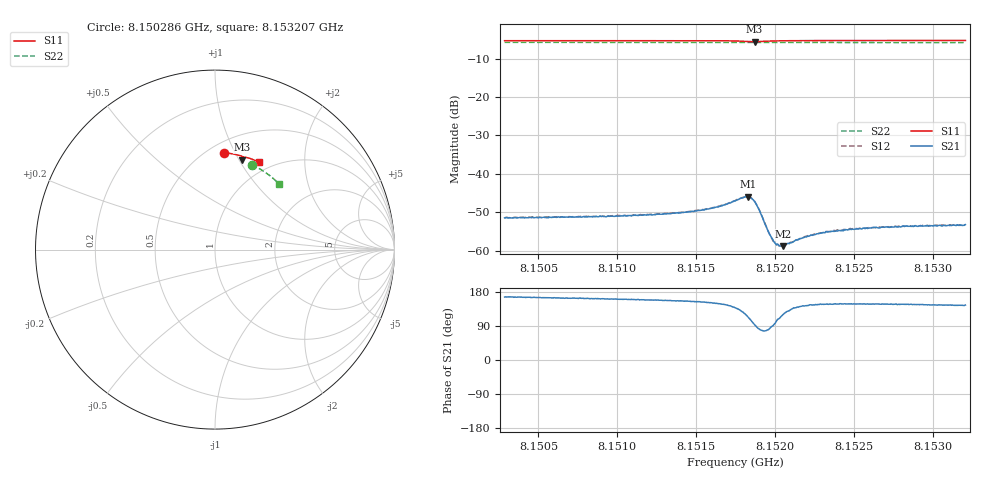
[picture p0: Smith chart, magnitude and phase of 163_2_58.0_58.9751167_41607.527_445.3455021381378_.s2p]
#  HZ  S  RI  R  50.00
! Rohde & Schwarz Vector Network Analyzer
! Rohde-Schwarz,ZNB20-2Port,1311601062101988,3.16
! Created: UTC 3/21/2024, 12:57:37 AM
! freq[Hz]  re:S11  im:S11  re:S21  im:S21  re:S12  im:S12  re:S22  im:S22
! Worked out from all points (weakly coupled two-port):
!   401 points, 8.150286 GHz to 8.153207 GHz, reference 50 ohm
!   highest |S21| = -45.96 dB at 8.151827 GHz (marker M1); lowest = -58.8 dB at 8.152053 GHz (marker M2)
!   lowest |S11| = -5.6 dB at 8.151871 GHz (marker M3), VSWR 3.21, Z = 37.4 + j51.8 ohm
!   |S11| at or under -10 dB: nowhere
!   |S22| runs from -5.8 to -5.8 dB; largest |S21 - S12| = 0.00013
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8.1502859e9  0.0516 0.5386  -0.0026 0.000638  -0.0026 0.000656  0.2046 0.473
8.1507752e9  0.0859 0.535  -0.0026 0.000812  -0.00263 0.000877  0.2329 0.4593
8.1512646e9  0.1205 0.5289  -0.00278 0.00114  -0.00278 0.00119  0.2602 0.4436
8.1514033e9  0.1306 0.5264  -0.00285 0.00125  -0.00284 0.00135  0.2678 0.4387
8.1515421e9  0.141 0.5234  -0.00302 0.00154  -0.00303 0.00163  0.2753 0.4338
8.1516517e9  0.15 0.5198  -0.00323 0.00199  -0.00319 0.00205  0.2812 0.4298
8.1517466e9  0.1578 0.5137  -0.00331 0.00298  -0.0033 0.00302  0.2863 0.4262
8.1517977e9  0.1602 0.5077  -0.00288 0.00395  -0.00285 0.00406  0.2887 0.4241
8.151827e9  0.1589 0.5037  -0.00209 0.00458  -0.00201 0.00465  0.29 0.4229
8.1518489e9  0.1561 0.5017  -0.00119 0.0047  -0.00113 0.00475  0.2911 0.4221
8.1518708e9  0.1527 0.502  -0.000229 0.00434  -0.000202 0.0044  0.292 0.4214
8.1519e9  0.1503 0.5055  0.000491 0.00336  0.000531 0.00337  0.2934 0.4205
8.1519511e9  0.153 0.5119  0.00036 0.00187  0.000387 0.00187  0.2961 0.4189
8.151973e9  0.1552 0.5135  9.6e-05 0.00155  0.000134 0.00151  0.2975 0.418
8.1519876e9  0.1565 0.5141  -1.61e-05 0.00138  3.76e-06 0.00133  0.298 0.4175
8.1520168e9  0.1597 0.5149  -0.000357 0.00116  -0.000325 0.00117  0.2997 0.4165
8.1520534e9  0.1635 0.5151  -0.000594 0.000979  -0.000587 0.000998  0.3016 0.415
8.1521775e9  0.1743 0.5137  -0.00118 0.000885  -0.00117 0.000926  0.308 0.4103
8.152236e9  0.1789 0.5127  -0.0013 0.000909  -0.0013 0.000917  0.3111 0.4078
8.1523893e9  0.19 0.5094  -0.00152 0.00097  -0.00155 0.00099  0.3187 0.4017
8.1527253e9  0.213 0.5012  -0.00169 0.00109  -0.00169 0.00112  0.3349 0.3877
8.1532073e9  0.244 0.4877  -0.00179 0.00125  -0.00174 0.00129  0.3572 0.3664
